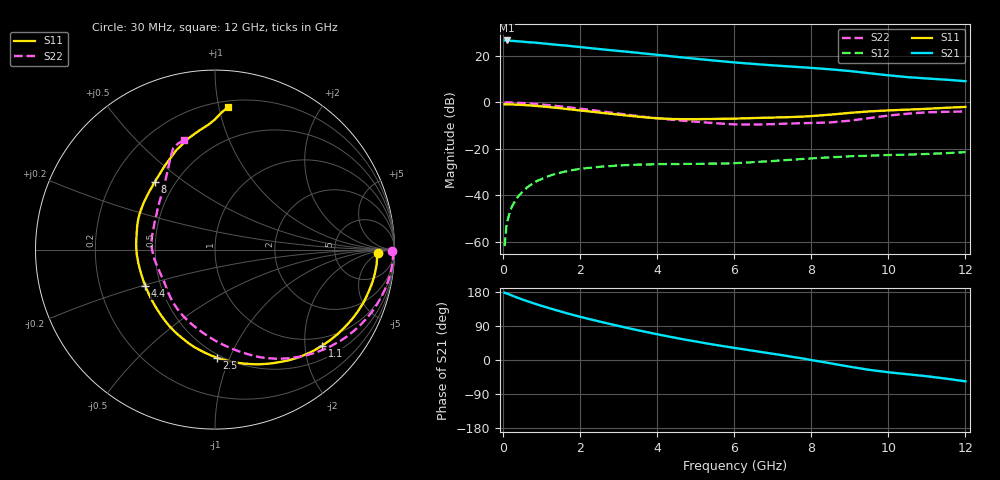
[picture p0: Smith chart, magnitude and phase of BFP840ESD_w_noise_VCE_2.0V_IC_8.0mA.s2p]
! Infineon Technologies  Discrete & RF Semiconductors
! BFP840ESD
! VCE =  2.0 V,  IC =  8.0 mA
! Common Emitter S-Parameters:  May 2012
# GHz  S  MA  R  50
!  f  S11  S21  S12  S22
! GHz  MAG  ANG  MAG  ANG  MAG  ANG  MAG  ANG
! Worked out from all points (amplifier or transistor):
!   93 points, 30 MHz to 12 GHz, reference 50 ohm
!   highest |S21| = 26.6 dB at 80 MHz (marker M1)
!   |S21| within 3 dB of that: start of sweep to 2.081 GHz
!   unconditionally stable (mu >= 1): 5.676 GHz to 9.659 GHz
!   at 1.1 GHz: K = 0.24, MSG = 28.7 dB, |S12| = -32.3 dB
!   at 4.2 GHz: K = 0.75, MSG = 23.4 dB, |S12| = -26.6 dB
!   at 12 GHz: K = 0.70, MSG = 15.3 dB, |S12| = -21.5 dB
!   lowest NFmin = 0.73 dB at 450 MHz
!   S11 on the Smith chart (normalised r, x): 30 MHz: 20, -4; 1.1 GHz: 0.79, -2.38; 2.5 GHz: 0.47, -0.89; 4.4 GHz: 0.41, -0.21; 8 GHz: 0.39, +0.39; 12 GHz: 0.25, +1.06
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0.03  0.906 -1.1  21.48 177.5  0.0008 50.8  0.9885 -0.5
0.08  0.904 -3.1  21.48 175.7  0.0023 74.7  0.9929 -2.3
0.33  0.8926 -13.1  20.75 165.7  0.0082 79.1  0.9797 -10.6
0.6  0.8672 -23.4  19.86 155.8  0.0144 72.2  0.9516 -19.0
0.8  0.842 -31.0  19.35 149.0  0.0188 67.3  0.9253 -24.9
1.1  0.802 -41.9  18.3 139.6  0.0244 60.8  0.8804 -33.3
1.6  0.7252 -59.6  16.77 124.6  0.0323 50.6  0.7962 -46.5
2.1  0.6532 -76.2  15.15 111.3  0.0377 41.6  0.7126 -58.5
2.5  0.6014 -89.2  14 101.4  0.041 36.1  0.6481 -67.5
2.9  0.5537 -102.4  12.99 92.0  0.0432 31.3  0.5856 -76.3
3.3  0.5105 -115.8  12.07 82.7  0.0447 27.1  0.5305 -85.4
3.7  0.4745 -129.0  11.16 74.1  0.0457 23.7  0.4824 -94.9
4.1  0.4485 -142.7  10.31 65.8  0.0469 20.7  0.4434 -104.9
4.4  0.4375 -152.5  9.721 59.8  0.047 19.0  0.4201 -112.1
5.2  0.436 -175.4  8.347 45.1  0.0475 16.3  0.3714 -130.0
6.1  0.4479 166.1  7.124 30.4  0.0494 16.5  0.3346 -149.4
7.1  0.4723 148.8  6.17 14.8  0.0553 15.6  0.3425 -171.5
8  0.5054 131.4  5.51 -0.1  0.062 12.3  0.3588 168.7
8.5  0.5438 121.1  5.134 -8.8  0.0655 9.6  0.3695 155.5
9.5  0.6375 103.4  4.238 -25.9  0.071 3.0  0.4568 128.2
10.5  0.6962 93.1  3.484 -37.6  0.0749 -2.4  0.5699 115.8
12  0.7961 84.8  2.855 -56.3  0.0846 -8.8  0.6351 105.6
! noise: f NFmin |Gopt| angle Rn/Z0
0.45  0.73  0.34  1  0.15
0.9  0.73  0.34  5  0.15
1.5  0.75  0.34  13  0.14
1.9  0.76  0.33  16  0.13
2.4  0.77  0.29  26  0.13
3.5  0.8  0.21  56  0.1
5.5  0.88  0.13  129  0.1
8  1.03  0.3  -134  0.09
10  1.19  0.47  -94  0.16
12  1.4  0.59  -73  0.27
